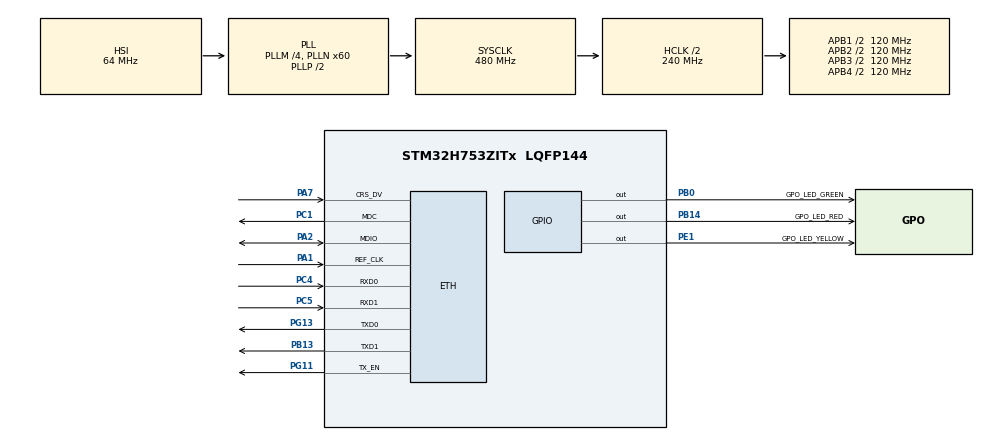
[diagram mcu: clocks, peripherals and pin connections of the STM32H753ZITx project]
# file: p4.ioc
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CORTEX_M7.AccessPermission-Cortex_Memory_Protection_Unit_Region0_Settings=MPU_REGION_FULL_ACCESS
CORTEX_M7.AccessPermission-Cortex_Memory_Protection_Unit_Region1_Settings=MPU_REGION_FULL_ACCESS
CORTEX_M7.BaseAddress-Cortex_Memory_Protection_Unit_Region0_Settings=0x30000200
CORTEX_M7.BaseAddress-Cortex_Memory_Protection_Unit_Region1_Settings=0x30000000
CORTEX_M7.CPU_DCache=Enabled
CORTEX_M7.CPU_ICache=Enabled
CORTEX_M7.Enable-Cortex_Memory_Protection_Unit_Region0_Settings=MPU_REGION_ENABLE
CORTEX_M7.Enable-Cortex_Memory_Protection_Unit_Region1_Settings=MPU_REGION_ENABLE
CORTEX_M7.IsBufferable-Cortex_Memory_Protection_Unit_Region0_Settings=MPU_ACCESS_NOT_BUFFERABLE
CORTEX_M7.IsBufferable-Cortex_Memory_Protection_Unit_Region1_Settings=MPU_ACCESS_BUFFERABLE
CORTEX_M7.IsShareable-Cortex_Memory_Protection_Unit_Region1_Settings=MPU_ACCESS_NOT_SHAREABLE
CORTEX_M7.MPU_Control=MPU_PRIVILEGED_DEFAULT
CORTEX_M7.Size-Cortex_Memory_Protection_Unit_Region0_Settings=MPU_REGION_SIZE_128KB
CORTEX_M7.Size-Cortex_Memory_Protection_Unit_Region1_Settings=MPU_REGION_SIZE_256B
CORTEX_M7.TypeExtField-Cortex_Memory_Protection_Unit_Region0_Settings=MPU_TEX_LEVEL1
CORTEX_M7.TypeExtField-Cortex_Memory_Protection_Unit_Region1_Settings=MPU_TEX_LEVEL0
ETH.MACAddr=00\:80\:E1\:00\:00\:10
ETH.MediaInterface=HAL_ETH_RMII_MODE
ETH.RxBuffLen=1536
ETH.RxDescAddress=0x30000000
ETH.TxDescAddress=0x30000060
Mcu.Family=STM32H7
Mcu.Name=STM32H753ZITx
Mcu.Package=LQFP144
NVIC.ETH_IRQn=true\:0\:0\:false\:false\:true\:false\:true\:true
NVIC.PriorityGroup=NVIC_PRIORITYGROUP_4
NVIC.TIM6_DAC_IRQn=true\:15\:0\:false\:false\:true\:false\:false\:true
NVIC.TimeBase=TIM6_DAC_IRQn
NVIC.TimeBaseIP=TIM6
PA1.Mode=RMII
PA1.Signal=ETH_REF_CLK
PA13\ (JTMS/SWDIO).Mode=Trace_Asynchronous_SW
PA13\ (JTMS/SWDIO).Signal=DEBUG_JTMS-SWDIO
PA14\ (JTCK/SWCLK).Mode=Trace_Asynchronous_SW
PA14\ (JTCK/SWCLK).Signal=DEBUG_JTCK-SWCLK
PA2.Mode=RMII
PA2.Signal=ETH_MDIO
PA7.Mode=RMII
PA7.Signal=ETH_CRS_DV
PB0.GPIO_Label=GPO_LED_GREEN
PB0.Signal=GPIO_Output
PB13.Mode=RMII
PB13.Signal=ETH_TXD1
PB14.GPIO_Label=GPO_LED_RED
PB14.Signal=GPIO_Output
PB3\ (JTDO/TRACESWO).Mode=Trace_Asynchronous_SW
PB3\ (JTDO/TRACESWO).Signal=DEBUG_JTDO-SWO
PC1.Mode=RMII
PC1.Signal=ETH_MDC
PC4.Mode=RMII
PC4.Signal=ETH_RXD0
PC5.Mode=RMII
PC5.Signal=ETH_RXD1
PE1.GPIO_Label=GPO_LED_YELLOW
PE1.Signal=GPIO_Output
PG11.Mode=RMII
PG11.Signal=ETH_TX_EN
PG13.Mode=RMII
PG13.Signal=ETH_TXD0
ProjectManager.HeapSize=0x200
ProjectManager.StackSize=0x400
ProjectManager.TargetToolchain=STM32CubeIDE
RCC.ADCFreq_Value=129000000
RCC.APB1Freq_Value=120000000
RCC.APB2Freq_Value=120000000
RCC.APB3Freq_Value=120000000
RCC.APB4Freq_Value=120000000
RCC.CortexFreq_Value=480000000
RCC.D1PPRE=RCC_APB3_DIV2
RCC.D2PPRE1=RCC_APB1_DIV2
RCC.D2PPRE2=RCC_APB2_DIV2
RCC.D3PPRE=RCC_APB4_DIV2
RCC.DIVM1=4
RCC.DIVN1=60
RCC.HCLKFreq_Value=240000000
RCC.HPRE=RCC_HCLK_DIV2
RCC.SYSCLKFreq_VALUE=480000000
RCC.SYSCLKSource=RCC_SYSCLKSOURCE_PLLCLK
RCC.USBFreq_Value=480000000
STMicroelectronics.X-CUBE-AZRTOS-H7.2.0.0.FX_APP_MEM_POOL_SIZE=2048
STMicroelectronics.X-CUBE-AZRTOS-H7.2.0.0.FileXCcFileOoSystemJjFileXJjCore=true
STMicroelectronics.X-CUBE-AZRTOS-H7.2.0.0.InterfacesCcNetworkJjEthernetOoInterface=true
STMicroelectronics.X-CUBE-AZRTOS-H7.2.0.0.InterfacesCcNetworkJjEthernetOoPhyOoInterface=LAN8742IiPhyIiInterface
STMicroelectronics.X-CUBE-AZRTOS-H7.2.0.0.NX_APP_MEM_POOL_SIZE=128000
STMicroelectronics.X-CUBE-AZRTOS-H7.2.0.0.NX_ENABLE_INTERFACE_CAPABILITY=true
STMicroelectronics.X-CUBE-AZRTOS-H7.2.0.0.NX_SECURE_AEAD_CIPHER_CHECK=true
STMicroelectronics.X-CUBE-AZRTOS-H7.2.0.0.NX_SECURE_ALLOW_SELF_SIGNED_CERTIFICATES=false
STMicroelectronics.X-CUBE-AZRTOS-H7.2.0.0.NX_SECURE_DTLS_INIT=true
STMicroelectronics.X-CUBE-AZRTOS-H7.2.0.0.NX_SECURE_ENABLE_AEAD_CIPHER=true
STMicroelectronics.X-CUBE-AZRTOS-H7.2.0.0.NX_SECURE_ENABLE_DTLS=true
STMicroelectronics.X-CUBE-AZRTOS-H7.2.0.0.NX_SECURE_ENABLE_ECC_CIPHERSUITE=true
STMicroelectronics.X-CUBE-AZRTOS-H7.2.0.0.NX_SECURE_ENABLE_ECJPAKE_CIPHERSUITE=true
STMicroelectronics.X-CUBE-AZRTOS-H7.2.0.0.NX_SECURE_ENABLE_PSK_CIPHERSUITES=true
STMicroelectronics.X-CUBE-AZRTOS-H7.2.0.0.NX_SECURE_TLS_DISABLE_TLS_1_1=true
STMicroelectronics.X-CUBE-AZRTOS-H7.2.0.0.NX_SECURE_TLS_ENABLE_SECURE_RENEGOTIATION=true
STMicroelectronics.X-CUBE-AZRTOS-H7.2.0.0.NX_SECURE_TLS_ENABLE_TLS_1_0=false
STMicroelectronics.X-CUBE-AZRTOS-H7.2.0.0.NX_SECURE_TLS_ENABLE_TLS_1_1=false
STMicroelectronics.X-CUBE-AZRTOS-H7.2.0.0.NX_SECURE_TLS_ENABLE_TLS_1_3=true
STMicroelectronics.X-CUBE-AZRTOS-H7.2.0.0.NX_SECURE_TLS_INIT=true
STMicroelectronics.X-CUBE-AZRTOS-H7.2.0.0.NX_SECURE_TLS_TLS_1_2_ENABLED=true
STMicroelectronics.X-CUBE-AZRTOS-H7.2.0.0.NX_SECURE_TLS_TLS_1_3_ENABLED=true
STMicroelectronics.X-CUBE-AZRTOS-H7.2.0.0.NX_SECURE_TLS_USE_SCSV_CIPHPERSUITE=true
STMicroelectronics.X-CUBE-AZRTOS-H7.2.0.0.NX_SECURE_X509_CERTIFICATE_INITIALIZE_EXTENSION=true
STMicroelectronics.X-CUBE-AZRTOS-H7.2.0.0.NX_SECURE_X509_CERTIFICATE_VERIFY_EXTENSION=true
STMicroelectronics.X-CUBE-AZRTOS-H7.2.0.0.NX_SECURE_X509_CRL_VERIFY_EXTENSION=true
STMicroelectronics.X-CUBE-AZRTOS-H7.2.0.0.NX_SECURE_X509_PARSE_CRL_EXTENSION=true
STMicroelectronics.X-CUBE-AZRTOS-H7.2.0.0.NX_WEB_HTTPS_ENABLE=true
STMicroelectronics.X-CUBE-AZRTOS-H7.2.0.0.NetXDuoCcNetworkJjNetXDuoJjAddonsOoDHCPOoClient=true
STMicroelectronics.X-CUBE-AZRTOS-H7.2.0.0.NetXDuoCcNetworkJjNetXDuoJjAddonsOoWebOoServer=true
STMicroelectronics.X-CUBE-AZRTOS-H7.2.0.0.NetXDuoCcNetworkJjNetXDuoJjCrypto=true
STMicroelectronics.X-CUBE-AZRTOS-H7.2.0.0.NetXDuoCcNetworkJjNetXDuoJjNXOoCore=true
STMicroelectronics.X-CUBE-AZRTOS-H7.2.0.0.NetXDuoCcNetworkJjNetXDuoJjTLS=true
STMicroelectronics.X-CUBE-AZRTOS-H7.2.0.0.STM32CubeIiBSPIiComponentsCcBoardOoPartJjETHPhyJjLAN8742=true
STMicroelectronics.X-CUBE-AZRTOS-H7.2.0.0.TX_APP_MEM_POOL_SIZE=8000
STMicroelectronics.X-CUBE-AZRTOS-H7.2.0.0.TX_ENABLE_STACK_CHECKING=0
STMicroelectronics.X-CUBE-AZRTOS-H7.2.0.0.ThreadXCcRTOSJjThreadXJjCore=true
STMicroelectronics.X-CUBE-AZRTOS-H7.2.0.0_IsAnAzureRtosMw=true
VP_STMicroelectronics.X-CUBE-AZRTOS-H7_VS_BoardOoPartJjSTM32CubeIiBSPIiComponents_1.1.0_2.0.0.Mode=BoardOoPartJjSTM32CubeIiBSPIiComponents
VP_STMicroelectronics.X-CUBE-AZRTOS-H7_VS_FileOoSystemJjFileX_6.1.7_2.0.0.Mode=FileOoSystemJjFileX
VP_STMicroelectronics.X-CUBE-AZRTOS-H7_VS_NetworkJjInterfaces_2.0.0_2.0.0.Mode=NetworkJjInterfaces
VP_STMicroelectronics.X-CUBE-AZRTOS-H7_VS_NetworkJjNetXDuo_6.1.7_2.0.0.Mode=NetworkJjNetXDuo
VP_STMicroelectronics.X-CUBE-AZRTOS-H7_VS_RTOSJjThreadX_6.1.7_2.0.0.Mode=RTOSJjThreadX
VP_SYS_VS_tim6.Mode=TIM6
board=custom

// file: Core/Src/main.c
/* USER CODE BEGIN Header */
/**
  ******************************************************************************
  * @file           : main.c
  * @brief          : Main program body
  ******************************************************************************
  * @attention
  *
  * <h2><center>&copy; Copyright (c) 2021 STMicroelectronics.
  * All rights reserved.</center></h2>
  *
  * This software component is licensed by ST under BSD 3-Clause license,
  * the "License"; You may not use this file except in compliance with the
  * License. You may obtain a copy of the License at:
  *                        opensource.org/licenses/BSD-3-Clause
  *
  ******************************************************************************
  */
/* USER CODE END Header */
#include "main.h"
#include "string.h"
#include "app_threadx.h"

/* USER CODE BEGIN Includes */
#include "shareddefs.h"
/* USER CODE END Includes */

/* USER CODE BEGIN PD */
#define __SCB_DCACHE_LINE_SIZE  32U
/* USER CODE END PD */

#if defined ( __ICCARM__ ) /*!< IAR Compiler */

#pragma location=0x30000000
ETH_DMADescTypeDef  DMARxDscrTab[ETH_RX_DESC_CNT]; /* Ethernet Rx DMA Descriptors */
#pragma location=0x30000060
ETH_DMADescTypeDef  DMATxDscrTab[ETH_TX_DESC_CNT]; /* Ethernet Tx DMA Descriptors */

#elif defined ( __CC_ARM )  /* MDK ARM Compiler */

__attribute__((at(0x30000000))) ETH_DMADescTypeDef  DMARxDscrTab[ETH_RX_DESC_CNT]; /* Ethernet Rx DMA Descriptors */
__attribute__((at(0x30000060))) ETH_DMADescTypeDef  DMATxDscrTab[ETH_TX_DESC_CNT]; /* Ethernet Tx DMA Descriptors */

#elif defined ( __GNUC__ ) /* GNU Compiler */

ETH_DMADescTypeDef DMARxDscrTab[ETH_RX_DESC_CNT] __attribute__((section(".RxDecripSection"))); /* Ethernet Rx DMA Descriptors */
ETH_DMADescTypeDef DMATxDscrTab[ETH_TX_DESC_CNT] __attribute__((section(".TxDecripSection")));   /* Ethernet Tx DMA Descriptors */

#endif

ETH_TxPacketConfig TxConfig;

ETH_HandleTypeDef heth;

void SystemClock_Config(void);
static void MPU_Config(void);
static void MX_GPIO_Init(void);
/* USER CODE BEGIN PFP */

int __io_putchar(int ch);
/* USER CODE END PFP */

/* USER CODE BEGIN 0 */

int __io_putchar(int ch)
{
#ifdef SDEF_ITM
 ITM_SendChar(ch);
#endif
 return(ch);
}

/* USER CODE END 0 */

int main(void)
{
  /* USER CODE BEGIN 1 */
	asm("nop");

  //extern char _sbss[];
  //extern char _ebss[];
  //memset(_sbss,0,(_ebss-_sbss)); //zero bss memory, must be before HAL_Init();

#ifdef SDEF_MPU
  MPU_Config();
#endif

  //SCB_DisableICache();
  //SCB_DisableDCache(); //cannot step through this line

#ifdef SDEF_CACHE
  SCB_EnableICache();
  SCB_EnableDCache(); //cannot step through this line
#endif

  HAL_Init();

  SystemClock_Config();

	//__HAL_RCC_D2SRAM1_CLK_ENABLE();
	__HAL_RCC_D2SRAM2_CLK_ENABLE(); //enable D2 RAM clock just in case https://stackoverflow.com/questions/64908765/why-does-d2-ram-work-correctly-even-when-clock-is-disabled
	//__HAL_RCC_D2SRAM3_CLK_ENABLE(); //enable if using

  MX_GPIO_Init();

  setvbuf(stdout, NULL, _IONBF, 0); // Disable I/O buffering for STDOUT stream, so that chars are sent out as soon as they are printed.

  printf("I:Starting ThreadX\r\n");
  MX_ThreadX_Init();

  printf("E:***SHOULD NOT RUN***\r\n");

  /* USER CODE END 1 */

  /* MPU Configuration--------------------------------------------------------*/
  MPU_Config();

  /* Enable I-Cache---------------------------------------------------------*/
  SCB_EnableICache();

  /* Enable D-Cache---------------------------------------------------------*/
  SCB_EnableDCache();

  /* MCU Configuration--------------------------------------------------------*/

  /* Reset of all peripherals, Initializes the Flash interface and the Systick. */
  HAL_Init();

  /* Configure the system clock */
  SystemClock_Config();

  /* Initialize all configured peripherals */
  MX_GPIO_Init();

  MX_ThreadX_Init();
  /* Infinite loop */
  while (1)
  {

  }
}

void SystemClock_Config(void)
{
  RCC_OscInitTypeDef RCC_OscInitStruct = {0};
  RCC_ClkInitTypeDef RCC_ClkInitStruct = {0};

  /** Supply configuration update enable
  */
  HAL_PWREx_ConfigSupply(PWR_LDO_SUPPLY);
  /** Configure the main internal regulator output voltage
  */
  __HAL_PWR_VOLTAGESCALING_CONFIG(PWR_REGULATOR_VOLTAGE_SCALE0);

  while(!__HAL_PWR_GET_FLAG(PWR_FLAG_VOSRDY)) {}
  /** Initializes the RCC Oscillators according to the specified parameters
  * in the RCC_OscInitTypeDef structure.
  */
  RCC_OscInitStruct.OscillatorType = RCC_OSCILLATORTYPE_HSI;
  RCC_OscInitStruct.HSIState = RCC_HSI_DIV1;
  RCC_OscInitStruct.HSICalibrationValue = RCC_HSICALIBRATION_DEFAULT;
  RCC_OscInitStruct.PLL.PLLState = RCC_PLL_ON;
  RCC_OscInitStruct.PLL.PLLSource = RCC_PLLSOURCE_HSI;
  RCC_OscInitStruct.PLL.PLLM = 4;
  RCC_OscInitStruct.PLL.PLLN = 60;
  RCC_OscInitStruct.PLL.PLLP = 2;
  RCC_OscInitStruct.PLL.PLLQ = 2;
  RCC_OscInitStruct.PLL.PLLR = 2;
  RCC_OscInitStruct.PLL.PLLRGE = RCC_PLL1VCIRANGE_3;
  RCC_OscInitStruct.PLL.PLLVCOSEL = RCC_PLL1VCOWIDE;
  RCC_OscInitStruct.PLL.PLLFRACN = 0;
  if (HAL_RCC_OscConfig(&RCC_OscInitStruct) != HAL_OK)
  {
    Error_Handler();
  }
  /** Initializes the CPU, AHB and APB buses clocks
  */
  RCC_ClkInitStruct.ClockType = RCC_CLOCKTYPE_HCLK|RCC_CLOCKTYPE_SYSCLK
                              |RCC_CLOCKTYPE_PCLK1|RCC_CLOCKTYPE_PCLK2
                              |RCC_CLOCKTYPE_D3PCLK1|RCC_CLOCKTYPE_D1PCLK1;
  RCC_ClkInitStruct.SYSCLKSource = RCC_SYSCLKSOURCE_PLLCLK;
  RCC_ClkInitStruct.SYSCLKDivider = RCC_SYSCLK_DIV1;
  RCC_ClkInitStruct.AHBCLKDivider = RCC_HCLK_DIV2;
  RCC_ClkInitStruct.APB3CLKDivider = RCC_APB3_DIV2;
  RCC_ClkInitStruct.APB1CLKDivider = RCC_APB1_DIV2;
  RCC_ClkInitStruct.APB2CLKDivider = RCC_APB2_DIV2;
  RCC_ClkInitStruct.APB4CLKDivider = RCC_APB4_DIV2;

  if (HAL_RCC_ClockConfig(&RCC_ClkInitStruct, FLASH_LATENCY_4) != HAL_OK)
  {
    Error_Handler();
  }
}

void MX_ETH_Init(void)
{

   static uint8_t MACAddr[6];

  heth.Instance = ETH;
  MACAddr[0] = 0x00;
  MACAddr[1] = 0x80;
  MACAddr[2] = 0xE1;
  MACAddr[3] = 0x00;
  MACAddr[4] = 0x00;
  MACAddr[5] = 0x10;
  heth.Init.MACAddr = &MACAddr[0];
  heth.Init.MediaInterface = HAL_ETH_RMII_MODE;
  heth.Init.TxDesc = DMATxDscrTab;
  heth.Init.RxDesc = DMARxDscrTab;
  heth.Init.RxBuffLen = 1536;

  if (HAL_ETH_Init(&heth) != HAL_OK)
  {
    Error_Handler();
  }

  memset(&TxConfig, 0 , sizeof(ETH_TxPacketConfig));
  TxConfig.Attributes = ETH_TX_PACKETS_FEATURES_CSUM | ETH_TX_PACKETS_FEATURES_CRCPAD;
  TxConfig.ChecksumCtrl = ETH_CHECKSUM_IPHDR_PAYLOAD_INSERT_PHDR_CALC;
  TxConfig.CRCPadCtrl = ETH_CRC_PAD_INSERT;

}

static void MX_GPIO_Init(void)
{
  GPIO_InitTypeDef GPIO_InitStruct = {0};

  /* GPIO Ports Clock Enable */
  __HAL_RCC_GPIOC_CLK_ENABLE();
  __HAL_RCC_GPIOA_CLK_ENABLE();
  __HAL_RCC_GPIOB_CLK_ENABLE();
  __HAL_RCC_GPIOG_CLK_ENABLE();
  __HAL_RCC_GPIOE_CLK_ENABLE();

  /*Configure GPIO pin Output Level */
  HAL_GPIO_WritePin(GPIOB, GPO_LED_GREEN_Pin|GPO_LED_RED_Pin, GPIO_PIN_RESET);

  /*Configure GPIO pin Output Level */
  HAL_GPIO_WritePin(GPO_LED_YELLOW_GPIO_Port, GPO_LED_YELLOW_Pin, GPIO_PIN_RESET);

  /*Configure GPIO pins : GPO_LED_GREEN_Pin GPO_LED_RED_Pin */
  GPIO_InitStruct.Pin = GPO_LED_GREEN_Pin|GPO_LED_RED_Pin;
  GPIO_InitStruct.Mode = GPIO_MODE_OUTPUT_PP;
  GPIO_InitStruct.Pull = GPIO_NOPULL;
  GPIO_InitStruct.Speed = GPIO_SPEED_FREQ_LOW;
  HAL_GPIO_Init(GPIOB, &GPIO_InitStruct);

  /*Configure GPIO pin : GPO_LED_YELLOW_Pin */
  GPIO_InitStruct.Pin = GPO_LED_YELLOW_Pin;
  GPIO_InitStruct.Mode = GPIO_MODE_OUTPUT_PP;
  GPIO_InitStruct.Pull = GPIO_NOPULL;
  GPIO_InitStruct.Speed = GPIO_SPEED_FREQ_LOW;
  HAL_GPIO_Init(GPO_LED_YELLOW_GPIO_Port, &GPIO_InitStruct);

}

/* MPU Configuration */

void MPU_Config(void)
{
  MPU_Region_InitTypeDef MPU_InitStruct = {0};

  /* Disables the MPU */
  HAL_MPU_Disable();
  /** Initializes and configures the Region and the memory to be protected
  */
  MPU_InitStruct.Enable = MPU_REGION_ENABLE;
  MPU_InitStruct.Number = MPU_REGION_NUMBER0;
  MPU_InitStruct.BaseAddress = 0x30000200;
  MPU_InitStruct.Size = MPU_REGION_SIZE_128KB;
  MPU_InitStruct.SubRegionDisable = 0x0;
  MPU_InitStruct.TypeExtField = MPU_TEX_LEVEL1;
  MPU_InitStruct.AccessPermission = MPU_REGION_FULL_ACCESS;
  MPU_InitStruct.DisableExec = MPU_INSTRUCTION_ACCESS_ENABLE;
  MPU_InitStruct.IsShareable = MPU_ACCESS_NOT_SHAREABLE;
  MPU_InitStruct.IsCacheable = MPU_ACCESS_NOT_CACHEABLE;
  MPU_InitStruct.IsBufferable = MPU_ACCESS_NOT_BUFFERABLE;

  HAL_MPU_ConfigRegion(&MPU_InitStruct);
  /** Initializes and configures the Region and the memory to be protected
  */
  MPU_InitStruct.Number = MPU_REGION_NUMBER1;
  MPU_InitStruct.BaseAddress = 0x30000000;
  MPU_InitStruct.Size = MPU_REGION_SIZE_256B;
  MPU_InitStruct.TypeExtField = MPU_TEX_LEVEL0;
  MPU_InitStruct.IsBufferable = MPU_ACCESS_BUFFERABLE;

  HAL_MPU_ConfigRegion(&MPU_InitStruct);
  /* Enables the MPU */
  HAL_MPU_Enable(MPU_PRIVILEGED_DEFAULT);

}

void HAL_TIM_PeriodElapsedCallback(TIM_HandleTypeDef *htim)
{
  if (htim->Instance == TIM6) {
    HAL_IncTick();
  }
}

void Error_Handler(void)
{
  /* USER CODE BEGIN Error_Handler_Debug */
  /* User can add his own implementation to report the HAL error return state */
  __disable_irq();
  HAL_GPIO_WritePin(GPO_LED_RED_GPIO_Port, GPO_LED_RED_Pin,GPIO_PIN_SET); //red led ON
  while (1)
  {

  }
  /* USER CODE END Error_Handler_Debug */
}

/************************ (C) COPYRIGHT STMicroelectronics *****END OF FILE****/
